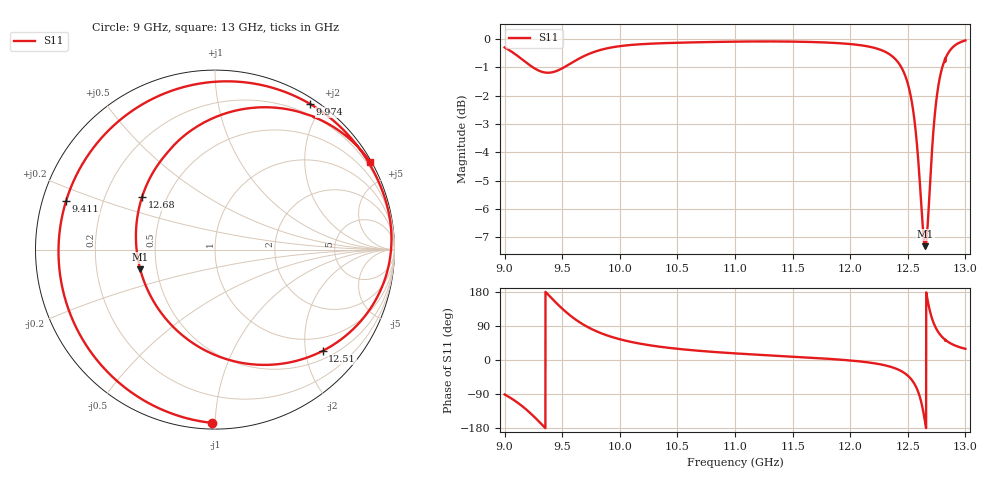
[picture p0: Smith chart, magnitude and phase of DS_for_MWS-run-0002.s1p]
! TOUCHSTONE file generated by CST DESIGN STUDIO
! Date and time: Tue Feb  4 14:17:24 2025
! Project name: C:\Work\MatlabApps\UnitCellOptimizationMatlab\CST\unitcell.cst
! Tree item: Tasks\Sweep1\SPara1\S-Parameters
! Header version: 2024
! Port assignment regex: !\s*Touchstone port\s*([0-9]+)\s*=\s*(CST MWS port|CST DES external port|CST DES block port)\s*(.+)\s* \(\"(.*)\"\)(\s*mode\s*([0-9]+))?.*
! Touchstone port assignment:
! Touchstone port 1 = CST DES external port 1 ("")
# GHz S MA R 50
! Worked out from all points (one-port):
!   4001 points, 9 GHz to 13 GHz, reference 50 ohm
!   lowest |S11| = -7.3 dB at 12.65 GHz (marker M1), VSWR 2.51, Z = 20.2 - j5.42 ohm
!   |S11| at or under -10 dB: nowhere
!   S11 on the Smith chart (normalised r, x): 9 GHz: 0.03, -0.98; 9.411 GHz: 0.07, +0.16; 9.974 GHz: 0.07, +1.84; 12.51 GHz: 0.67, -2.36; 12.68 GHz: 0.36, +0.29; 13 GHz: 0.05, +3.80
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9  0.9656 -91.0
9.1  0.9371 -109.8
9.191  0.9072 -131.5
9.308  0.8769 -165.4
9.411  0.8728 162.0
9.5  0.8871 135.5
9.587  0.9084 113.3
9.682  0.9308 93.7
9.822  0.9546 72.6
9.974  0.9691 56.9
10  0.9707 54.8
10.5  0.9842 29.6
11  0.9887 17.5
11.5  0.9888 8.7
12  0.979 -1.3
12.343  0.9388 -17.2
12.434  0.8979 -27.8
12.5  0.8337 -41.3
12.507  0.8237 -43.3
12.549  0.7418 -58.7
12.591  0.61 -84.8
12.62  0.4977 -115.3
12.651  0.4309 -165.3
12.681  0.5015 144.0
12.721  0.683 100.2
12.764  0.8235 74.0
12.858  0.949 46.3
13  0.9934 29.5
